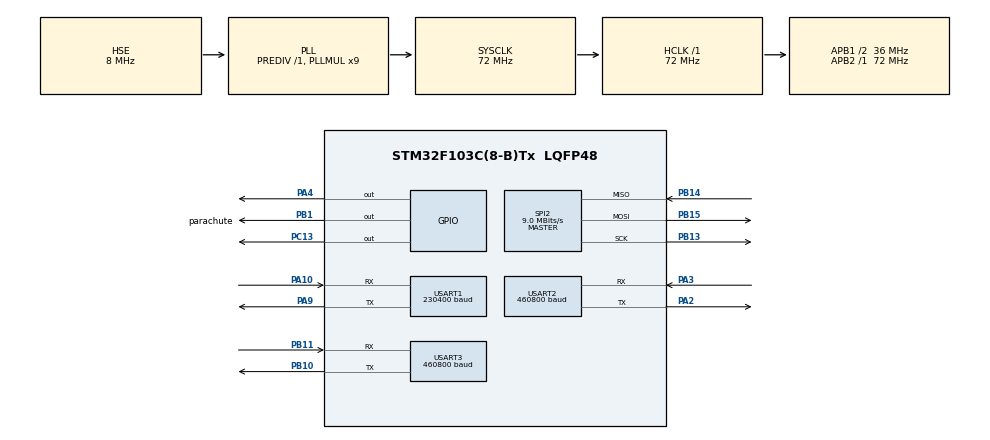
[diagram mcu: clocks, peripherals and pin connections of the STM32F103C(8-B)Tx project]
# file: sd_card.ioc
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Dma.Request0=USART1_RX
Dma.Request1=USART1_TX
Dma.Request2=USART3_RX
Dma.Request3=USART3_TX
Dma.USART1_RX.0.Direction=DMA_PERIPH_TO_MEMORY
Dma.USART1_RX.0.Instance=DMA1_Channel5
Dma.USART1_RX.0.MemDataAlignment=DMA_MDATAALIGN_BYTE
Dma.USART1_RX.0.MemInc=DMA_MINC_ENABLE
Dma.USART1_RX.0.Mode=DMA_NORMAL
Dma.USART1_RX.0.PeriphDataAlignment=DMA_PDATAALIGN_BYTE
Dma.USART1_RX.0.PeriphInc=DMA_PINC_DISABLE
Dma.USART1_RX.0.Priority=DMA_PRIORITY_MEDIUM
Dma.USART1_TX.1.Direction=DMA_MEMORY_TO_PERIPH
Dma.USART1_TX.1.Instance=DMA1_Channel4
Dma.USART1_TX.1.MemDataAlignment=DMA_MDATAALIGN_BYTE
Dma.USART1_TX.1.MemInc=DMA_MINC_ENABLE
Dma.USART1_TX.1.Mode=DMA_NORMAL
Dma.USART1_TX.1.PeriphDataAlignment=DMA_PDATAALIGN_BYTE
Dma.USART1_TX.1.PeriphInc=DMA_PINC_DISABLE
Dma.USART1_TX.1.Priority=DMA_PRIORITY_MEDIUM
Dma.USART3_RX.2.Direction=DMA_PERIPH_TO_MEMORY
Dma.USART3_RX.2.Instance=DMA1_Channel3
Dma.USART3_RX.2.MemDataAlignment=DMA_MDATAALIGN_BYTE
Dma.USART3_RX.2.MemInc=DMA_MINC_ENABLE
Dma.USART3_RX.2.Mode=DMA_NORMAL
Dma.USART3_RX.2.PeriphDataAlignment=DMA_PDATAALIGN_BYTE
Dma.USART3_RX.2.PeriphInc=DMA_PINC_DISABLE
Dma.USART3_RX.2.Priority=DMA_PRIORITY_MEDIUM
Dma.USART3_TX.3.Direction=DMA_MEMORY_TO_PERIPH
Dma.USART3_TX.3.Instance=DMA1_Channel2
Dma.USART3_TX.3.MemDataAlignment=DMA_MDATAALIGN_BYTE
Dma.USART3_TX.3.MemInc=DMA_MINC_ENABLE
Dma.USART3_TX.3.Mode=DMA_NORMAL
Dma.USART3_TX.3.PeriphDataAlignment=DMA_PDATAALIGN_BYTE
Dma.USART3_TX.3.PeriphInc=DMA_PINC_DISABLE
Dma.USART3_TX.3.Priority=DMA_PRIORITY_MEDIUM
FATFS._MAX_SS=4096
FATFS._USE_LFN=1
Mcu.Family=STM32F1
Mcu.Name=STM32F103C(8-B)Tx
Mcu.Package=LQFP48
NVIC.DMA1_Channel2_IRQn=true\:0\:0\:false\:false\:true\:false\:true\:true
NVIC.DMA1_Channel3_IRQn=true\:0\:0\:false\:false\:true\:false\:true\:true
NVIC.DMA1_Channel4_IRQn=true\:0\:0\:false\:false\:true\:false\:true\:true
NVIC.DMA1_Channel5_IRQn=true\:0\:0\:false\:false\:true\:false\:true\:true
NVIC.PriorityGroup=NVIC_PRIORITYGROUP_4
NVIC.TIM2_IRQn=true\:0\:0\:false\:false\:true\:true\:true\:true
NVIC.USART1_IRQn=true\:0\:0\:false\:false\:true\:true\:true\:true
PA10.Mode=Asynchronous
PA10.Signal=USART1_RX
PA13.Mode=Serial_Wire
PA13.Signal=SYS_JTMS-SWDIO
PA14.Mode=Serial_Wire
PA14.Signal=SYS_JTCK-SWCLK
PA2.Mode=Asynchronous
PA2.Signal=USART2_TX
PA3.Mode=Asynchronous
PA3.Signal=USART2_RX
PA4.GPIO_Speed=GPIO_SPEED_FREQ_MEDIUM
PA4.Signal=GPIO_Output
PA9.Mode=Asynchronous
PA9.Signal=USART1_TX
PB1.GPIO_Label=parachute
PB1.GPIO_Speed=GPIO_SPEED_FREQ_MEDIUM
PB1.Signal=GPIO_Output
PB10.Mode=Asynchronous
PB10.Signal=USART3_TX
PB11.Mode=Asynchronous
PB11.Signal=USART3_RX
PB13.Mode=Full_Duplex_Master
PB13.Signal=SPI2_SCK
PB14.Mode=Full_Duplex_Master
PB14.Signal=SPI2_MISO
PB15.Mode=Full_Duplex_Master
PB15.Signal=SPI2_MOSI
PC13-TAMPER-RTC.GPIO_Speed=GPIO_SPEED_FREQ_MEDIUM
PC13-TAMPER-RTC.Signal=GPIO_Output
PD0-OSC_IN.Mode=HSE-External-Oscillator
PD0-OSC_IN.Signal=RCC_OSC_IN
PD1-OSC_OUT.Mode=HSE-External-Oscillator
PD1-OSC_OUT.Signal=RCC_OSC_OUT
ProjectManager.HeapSize=0x200
ProjectManager.StackSize=0x400
ProjectManager.TargetToolchain=STM32CubeIDE
RCC.AHBFreq_Value=72000000
RCC.APB1CLKDivider=RCC_HCLK_DIV2
RCC.APB1Freq_Value=36000000
RCC.APB1TimFreq_Value=72000000
RCC.APB2Freq_Value=72000000
RCC.APB2TimFreq_Value=72000000
RCC.HCLKFreq_Value=72000000
RCC.PLLMUL=RCC_PLL_MUL9
RCC.PLLSourceVirtual=RCC_PLLSOURCE_HSE
RCC.SYSCLKFreq_VALUE=72000000
RCC.SYSCLKSource=RCC_SYSCLKSOURCE_PLLCLK
RCC.USBFreq_Value=72000000
SPI2.BaudRatePrescaler=SPI_BAUDRATEPRESCALER_4
SPI2.CalculateBaudRate=9.0 MBits/s
SPI2.Direction=SPI_DIRECTION_2LINES
SPI2.Mode=SPI_MODE_MASTER
SPI2.VirtualType=VM_MASTER
TIM2.Period=10
TIM2.Prescaler=39999
USART1.BaudRate=230400
USART1.VirtualMode=VM_ASYNC
USART2.BaudRate=460800
USART2.VirtualMode=VM_ASYNC
USART3.BaudRate=460800
USART3.VirtualMode=VM_ASYNC
VP_FATFS_VS_Generic.Mode=User_defined
VP_RTC_VS_RTC_Activate.Mode=RTC_Enabled
VP_RTC_VS_RTC_Calendar.Mode=RTC_Calendar
VP_TIM2_VS_ClockSourceINT.Mode=Internal
board=custom

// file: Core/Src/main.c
/* USER CODE BEGIN Header */
/**
 ******************************************************************************
 * @file           : main.c
 * @brief          : Main program body
 ******************************************************************************
 * @attention
 *
 * Copyright (c) 2023 STMicroelectronics.
 * All rights reserved.
 *
 * This software is licensed under terms that can be found in the LICENSE file
 * in the root directory of this software component.
 * If no LICENSE file comes with this software, it is provided AS-IS.
 *
 ******************************************************************************
 */
/* USER CODE END Header */
#include "main.h"
#include "fatfs.h"
#include "sd.h"
/* USER CODE BEGIN Includes */
#include "time.h"
#include <stdbool.h>
#include "packet_buffer.h"
#include <unistd.h>

/* USER CODE END Includes */

/* USER CODE BEGIN PD */
#define UART_SPEED 460800
#define BUFSIZE 420
/* USER CODE END PD */

RTC_HandleTypeDef hrtc;

SPI_HandleTypeDef hspi2;

TIM_HandleTypeDef htim2;

UART_HandleTypeDef huart1;
UART_HandleTypeDef huart2;
UART_HandleTypeDef huart3;
DMA_HandleTypeDef hdma_usart1_rx;
DMA_HandleTypeDef hdma_usart1_tx;
DMA_HandleTypeDef hdma_usart3_rx;

void SystemClock_Config(void);
static void MX_GPIO_Init(void);
static void MX_DMA_Init(void);
static void MX_SPI2_Init(void);
static void MX_TIM2_Init(void);
static void MX_USART1_UART_Init(void);
static void MX_RTC_Init(void);
static void MX_USART3_UART_Init(void);
static void MX_USART2_UART_Init(void);
/* USER CODE BEGIN PFP */
static void ProcessReceivedMessage(void);
RTC_TimeTypeDef sTime = {0};
RTC_DateTypeDef DateToUpdate = {0};
char trans_str[64] = {0,};
/* USER CODE END PFP */

/* USER CODE BEGIN 0 */

uint8_t rx_buff[BUFSIZE] = {0,};
uint16_t rx_buff_len;
volatile uint16_t Timer1=0;
uint8_t sect[512];
extern char str1[60];
uint32_t byteswritten,bytesread;
uint8_t result;
uint8_t newdir;
extern char USERPath[4]; /* logical drive path */

FATFS SDFatFs;
FATFS *fs;
FIL MyFile;

//uint8_t buffer[size];

FRESULT res;
FILINFO fileInfo;
char *fn;
DIR dir;
DWORD fre_clust, fre_sect, tot_sect;

uint8_t fullMessageBuffer[800] = {0,};//массив для всех сообщений с запасом.
uint8_t *pfullMessageBuffer = fullMessageBuffer;
volatile uint8_t messageReady = 0;
volatile uint16_t fullMessageLength = 0; // длина сообщения из заголовка
volatile int headerSwitcher = 1; // переключатель чтения заголовка/тела пакета
int lighterSwitcher = 1; // переключатель светодиода
uint16_t addressMessage = 0; // проверка адреса
uint8_t helloCommand[8]={0x01,0x02,0x03,0x04,0x05,0x06,0x07,0x08};//массив с положительным статусом
uint8_t testCommand[8]={0x01,0x02,0x03,0x04,0x05,0x06,0x07,0x01};//массив с положительным статусом
int rewriteCounterCLoseFile = 0;

uint8_t rewriteMessagesBuffer[3400] = {0,};//massive for rewrite many messages
uint16_t rewriteMessagesCounter = 0;

//считыванием содержимого нашего файла
FRESULT ReadLongFile(void)
{
    uint16_t i=0, i1=0;
    uint32_t ind=0;
    uint32_t f_size = MyFile.fsize;
    sprintf(str1,"fsize: %lu\r\n",(unsigned long)f_size);
    HAL_UART_Transmit(&huart2,(uint8_t*)str1,strlen(str1),0x1000);
    ind=0;
    do
    {
        if(f_size<512)
        {
            i1=f_size;
        }
        else
        {
            i1=512;
        }
        f_size-=i1;
        f_lseek(&MyFile,ind);
        f_read(&MyFile,sect,i1,(UINT *)&bytesread);
        for(i=0;i<bytesread;i++)
        {
            HAL_UART_Transmit(&huart2,sect+i,1,0x1000);
        }
        ind+=i1;
    }

    while(f_size>0);
    HAL_UART_Transmit(&huart1,(uint8_t*)"\r\n",2,0x1000);
    return FR_OK;

}

//THREAD AI

//THREAD END

void rewrite(const void* buff,int size)
{

    if(f_mount(&SDFatFs,(TCHAR const*)USERPath,0)!=FR_OK)
    {
        Error_Handler();
    }
    else
    {
        if(f_open(&MyFile,"mywrite.txt",FA_OPEN_ALWAYS|FA_WRITE)!=FR_OK)//FA_OPEN_ALWAYS//FA_CREATE_ALWAYS
        {
            Error_Handler();
        }
        else
        {
            res = f_lseek(&MyFile, f_size(&MyFile));
            if (res != FR_OK) Error_Handler();

            res = f_write(&MyFile,buff,size,(void*)&byteswritten);

            if((byteswritten!=(uint32_t)size)||(res!=FR_OK))
            {
                Error_Handler();
            }

            if(lighterSwitcher==1)
            {
                HAL_GPIO_WritePin(parachute_GPIO_Port, parachute_Pin, GPIO_PIN_SET);
                lighterSwitcher=0;
            }
            else if(lighterSwitcher==0)
            {
                HAL_GPIO_WritePin(parachute_GPIO_Port, parachute_Pin, GPIO_PIN_RESET);
                lighterSwitcher=1;
            }

            if (f_close(&MyFile) != FR_OK) Error_Handler();
            rewriteMessagesCounter = 0;

        }
    }
}

void CreateNewFile(const TCHAR* filename, const void* mass, UINT length)
{
    if(f_mount(&SDFatFs,(TCHAR const*)USERPath,0)!=FR_OK)
    {
        Error_Handler();
    }
    else
    {
        if(f_open(&MyFile,filename,FA_CREATE_ALWAYS|FA_WRITE)!=FR_OK)//FA_OPEN_ALWAYS
        {
            Error_Handler();
        }
        else
        {
            res=f_write(&MyFile,mass,length,(void*)&byteswritten);

            if((byteswritten!=length)||(res!=FR_OK))

            {
                Error_Handler();
            }
            f_close(&MyFile);
        }
    }
}

void ReadDir()
{

    if(f_mount(&SDFatFs,(TCHAR const*)USERPath,0)!=FR_OK)
    {
        Error_Handler();
    }
    else
    {
        fileInfo.lfname = (char*)sect;
        fileInfo.lfsize = sizeof(sect);
        result = f_opendir(&dir, "/");
        if (result == FR_OK)
        {
            while(1)
            {
                result = f_readdir(&dir, &fileInfo);

                if (result==FR_OK && fileInfo.fname[0])
                {
                    fn = fileInfo.lfname;
                    if(strlen(fn)) HAL_UART_Transmit(&huart2,(uint8_t*)fn,strlen(fn),0x1000);
                    else HAL_UART_Transmit(&huart2,(uint8_t*)fileInfo.fname,strlen((char*)fileInfo.fname),0x1000);
                    if(fileInfo.fattrib&AM_DIR)
                    {
                        HAL_UART_Transmit(&huart2,(uint8_t*)" [DIR]",7,0x1000);
                    }
                }
                else break;
                HAL_UART_Transmit(&huart2,(uint8_t*)"\r\n",2,0x1000);
            }
            //информация о карте start
            //	  f_getfree("/", &fre_clust, &fs);
            //	  sprintf(str1,"fre_clust: %lurn",fre_clust);
            //	  HAL_UART_Transmit(&huart1,(uint8_t*)str1,strlen(str1),0x1000);
            //	  sprintf(str1,"n_fatent: %lurn",fs->n_fatent);
            //	  HAL_UART_Transmit(&huart1,(uint8_t*)str1,strlen(str1),0x1000);
            //	  sprintf(str1,"fs_csize: %drn",fs->csize);
            //	  HAL_UART_Transmit(&huart1,(uint8_t*)str1,strlen(str1),0x1000);
            //	  tot_sect = (fs->n_fatent - 2) * fs->csize;
            //	  sprintf(str1,"tot_sect: %lurn",tot_sect);
            //	  HAL_UART_Transmit(&huart1,(uint8_t*)str1,strlen(str1),0x1000);
            //	  fre_sect = fre_clust * fs->csize;
            //	  sprintf(str1,"fre_sect: %lurn",fre_sect);
            //	  HAL_UART_Transmit(&huart1,(uint8_t*)str1,strlen(str1),0x1000);
            //	  sprintf(str1, "%lu KB total drive space.rn%lu KB available.rn",fre_sect/2, tot_sect/2);
            //	  HAL_UART_Transmit(&huart1,(uint8_t*)str1,strlen(str1),0x1000);
            //информация о карте finish
            f_closedir(&dir);
        }
    }
}

void send_file_over_uart2(const char* filename) {
    // Открываем файл
    if (f_mount(&SDFatFs, (TCHAR const*)USERPath, 0) != FR_OK) {
        // Обработка ошибки монтирования файловой системы
        char *error10 = "error mount";
        HAL_UART_Transmit(&huart2, (uint8_t *)error10, strlen(error10), 10);
        return;
    }
    FIL file;
    if (f_open(&file, filename, FA_READ) != FR_OK) {
        // Обработка ошибки открытия файла
        char *error1 = "file not open";
        HAL_UART_Transmit(&huart2, (uint8_t *)error1, strlen(error1), 10);
        return;
    }

    // Определяем размер файла
    UINT file_size = f_size(&file);

    // Отправляем размер файла по UART2
    char size_buffer[20];
    snprintf(size_buffer, sizeof(size_buffer), "%lu", (unsigned long)file_size);
    HAL_UART_Transmit(&huart2, (uint8_t*)size_buffer, strlen(size_buffer), 10);

    // Передаем содержимое файла по UART2
    uint8_t buffer[1024];
    UINT bytes_read, bytes_sent = 0;
    while (f_read(&file, buffer, 1024, &bytes_read) == FR_OK && bytes_read > 0) {
        if (HAL_UART_Transmit(&huart2, buffer, bytes_read, 30) != HAL_OK) {
            // Обработка ошибки передачи данных
            char *error2 = "HAL_UART_Transmit not transmit";
            HAL_UART_Transmit(&huart2, (uint8_t *)error2, strlen(error2), 10);
            break;
        }
        bytes_sent += bytes_read;
        //    snprintf(bytes_sent, sizeof(bytes_sent), "%lu", bytes_sent);
        //    printf("Sent %u bytes\r\n", bytes_sent); // Отладочный вывод
        char sent_buffer[32]; // Создаем буфер для хранения отформатированной строки
        snprintf(sent_buffer, sizeof(sent_buffer), "Sent %u bytes\r\n", bytes_sent); // Форматируем строку и сохраняем ее в буфер
        HAL_UART_Transmit(&huart2, (uint8_t*)sent_buffer, strlen(sent_buffer), 10);
    }
    f_close(&file);
    char *error5 = "all good! Data transmited";
    HAL_UART_Transmit(&huart2, (uint8_t *)error5, strlen(error5), 10);
}

void fileTransfer()
{
    char *error0 = "start file transmited";
    HAL_UART_Transmit(&huart2, (uint8_t *)error0, strlen(error0), 10);

    FILE *fp;
    long int size;

    fp = fopen("mywrite.txt", "rb"); // Открываем файл для чтения в двоичном режиме
    if (fp == NULL) {
        // Обработка ошибки открытия файла
        char *error1 = "mywrite.txt not open";
        HAL_UART_Transmit(&huart2, (uint8_t *)error1, strlen(error1), 10);
        return;
    }

    fseek(fp, 0L, SEEK_END); // Устанавливаем позицию в конец файла
    size = ftell(fp); // Получаем текущую позицию, что равно размеру файла
    fseek(fp, 0L, SEEK_SET); // Устанавливаем позицию в начало файла

    uint8_t buffer[1024];
    uint32_t bytes_sent = 0;
    uint32_t bytes_to_send = size;

    // Передаем размер файла
    if (HAL_UART_Transmit(&huart2, (uint8_t *)&size, sizeof(size), HAL_MAX_DELAY) != HAL_OK) {
        // Обработка ошибки передачи данных
        char *error2 = "HAL_UART_Transmit not transmit";
        HAL_UART_Transmit(&huart2, (uint8_t *)error2, strlen(error2), 10);
    }

    // Передаем содержимое файла по блокам размером BUFFER_SIZE байт
    while (bytes_sent < bytes_to_send) {
        uint32_t bytes_to_read = (bytes_to_send - bytes_sent) > 1024 ? 1024 : (bytes_to_send - bytes_sent);

        if (fread(buffer, 1, bytes_to_read, fp) != bytes_to_read) {
            // Обработка ошибки чтения файла
            char *error3 = "file not read";
            HAL_UART_Transmit(&huart2, (uint8_t *)error3, strlen(error3), 10);
        }

        if (HAL_UART_Transmit(&huart2, buffer, bytes_to_read, HAL_MAX_DELAY) != HAL_OK) {
            // Обработка ошибки передачи данных
            char *error4 = "data not transmit";
            HAL_UART_Transmit(&huart2, (uint8_t *)error4, strlen(error4), 10);
        }

        bytes_sent += bytes_to_read;
    }

    fclose(fp); // Закрываем файл
    char *error5 = "all good! Data transmited";
    HAL_UART_Transmit(&huart2, (uint8_t *)error5, strlen(error5), 10);

}

/* USER CODE END 0 */
uint8_t str[BUFSIZE+1];
uint8_t dataReceived=0;
uint8_t dataTransmitted=1;

void waitedRewrite(void)
{
    if (rewriteMessagesCounter > 0)
    {
        rewrite(rewriteMessagesBuffer, rewriteMessagesCounter);
    }
}

int main(void)
{
    /* USER CODE BEGIN 1 */
    //	uint16_t i;
    //	FRESULT res; //результат выполнения
    //	uint8_t wtext[]="Hello from STM32!!!";

    /* USER CODE END 1 */

    /* MCU Configuration--------------------------------------------------------*/

    /* Reset of all peripherals, Initializes the Flash interface and the Systick. */
    HAL_Init();

    /* Configure the system clock */
    SystemClock_Config();

    /* Initialize all configured peripherals */
    MX_GPIO_Init();
    MX_DMA_Init();
    MX_SPI2_Init();
    MX_TIM2_Init();
    MX_USART1_UART_Init();
    MX_FATFS_Init();
    MX_RTC_Init();
    MX_USART3_UART_Init();
    MX_USART2_UART_Init();
    /* USER CODE BEGIN 2 */
    HAL_TIM_Base_Start_IT(&htim2);

    HAL_NVIC_EnableIRQ(USART2_IRQn);
    //SD_PowerOn();
    //sd_ini()
    //  HAL_UART_Transmit(&huart3 , helloCommand, 8,10 );//отправляем приветствие
    //  HAL_UART_Transmit(&huart2 , helloCommand, 8,10 );//отправляем приветствие
    //  HAL_UART_Transmit(&huart1 , helloCommand, 8,10 );//отправляем приветствие

    disk_initialize(SDFatFs.drv);

    //  ReadDir();
    //  send_file_over_uart2("mywrite.txt");
    //  fileTransfer();
    //  CreateNewFile("123456.txt", 46);

    if(f_mount(&SDFatFs,(TCHAR const*)USERPath,0)!=FR_OK)
    {
        Error_Handler();
    }
    else
    {
        if(f_open(&MyFile,"mywrite.txt",FA_OPEN_ALWAYS|FA_WRITE)!=FR_OK)
        {
            Error_Handler();
        }
        else
        {
            //      ReadLongFile();//read file in start
            f_close(&MyFile);
        }
    }

    headerSwitcher = 1;
    lighterSwitcher = 1;

    HAL_UART_Receive_IT (&huart2, pfullMessageBuffer, 6);//приходят данные сюда записываются в массив стр на размер буфера

    /* USER CODE END 2 */

    /* Infinite loop */
    while (1)
    {

        /* USER CODE BEGIN 3 */
        if (messageReady) ProcessReceivedMessage();

    }
    /* USER CODE END 3 */
}

/* Process complete packets in the foreground: SD writes and blocking UART
 * transmission must not run inside the receive interrupt. Reception is rearmed
 * before the reply, so a paced sender can issue its next request afterward. */
static void ProcessReceivedMessage(void)
{
    const uint16_t packetLength = fullMessageLength + 8U;
    const uint8_t *reply = NULL;
    uint16_t replyLength = 0;

    addressMessage = (fullMessageBuffer[2] << 8) | fullMessageBuffer[1];
    if ((addressMessage & 0x20U) != 0U)
    {
        switch (fullMessageBuffer[3])
        {
            case 0x01:
                reply = helloCommand;
                replyLength = sizeof(helloCommand);
                break;
            case 0x02:
                reply = fullMessageBuffer;
                replyLength = packetLength;
                break;
            case 0x03:
                reply = testCommand;
                replyLength = sizeof(testCommand);
                break;
            default:
                break;
        }
        if (reply != NULL)
        {
            const uint16_t recordOffset = rewriteMessagesCounter;
            /* Echo packets are logged once; other commands include the reply. */
            if (!packet_log_append(rewriteMessagesBuffer,
                    sizeof(rewriteMessagesBuffer), &rewriteMessagesCounter,
                    fullMessageBuffer, packetLength,
                    reply == fullMessageBuffer ? NULL : reply,
                    reply == fullMessageBuffer ? 0 : replyLength))
            {
                Error_Handler();
            }
            waitedRewrite();
            /* The receive buffer may change as soon as RX is rearmed. */
            if (reply == fullMessageBuffer) reply = rewriteMessagesBuffer + recordOffset;
        }
    }
    fullMessageLength = 0;
    messageReady = 0;
    headerSwitcher = 1;
    if (HAL_UART_Receive_IT(&huart2, fullMessageBuffer, 6) != HAL_OK)
    {
        Error_Handler();
    }
    if (reply != NULL)
    {
        HAL_UART_Transmit(&huart2, (uint8_t *)reply, replyLength, 100);
    }
}

void HAL_UART_RxCpltCallback(UART_HandleTypeDef *huart)
{
    if (huart == &huart2)
    {
        if (headerSwitcher != 0)
        {
            fullMessageLength = (fullMessageBuffer[5] << 8) | fullMessageBuffer[4];
            if (!packet_body_fits(fullMessageLength, sizeof(fullMessageBuffer)))
            {
                /* Reject impossible lengths before asking HAL to write data. */
                fullMessageLength = 0;
                HAL_UART_Receive_IT(&huart2, fullMessageBuffer, 6);
                return;
            }
            headerSwitcher = 0;
            HAL_UART_Receive_IT(&huart2, fullMessageBuffer + 6,
                                fullMessageLength + 2);
        }
        else
        {
            messageReady = 1;
        }
    }
}

void SystemClock_Config(void)
{
    RCC_OscInitTypeDef RCC_OscInitStruct = {0};
    RCC_ClkInitTypeDef RCC_ClkInitStruct = {0};
    RCC_PeriphCLKInitTypeDef PeriphClkInit = {0};

    /** Initializes the RCC Oscillators according to the specified parameters
     * in the RCC_OscInitTypeDef structure.
     */
    RCC_OscInitStruct.OscillatorType = RCC_OSCILLATORTYPE_LSI|RCC_OSCILLATORTYPE_HSE;
    RCC_OscInitStruct.HSEState = RCC_HSE_ON;
    RCC_OscInitStruct.HSEPredivValue = RCC_HSE_PREDIV_DIV1;
    RCC_OscInitStruct.HSIState = RCC_HSI_ON;
    RCC_OscInitStruct.LSIState = RCC_LSI_ON;
    RCC_OscInitStruct.PLL.PLLState = RCC_PLL_ON;
    RCC_OscInitStruct.PLL.PLLSource = RCC_PLLSOURCE_HSE;
    RCC_OscInitStruct.PLL.PLLMUL = RCC_PLL_MUL9;
    if (HAL_RCC_OscConfig(&RCC_OscInitStruct) != HAL_OK)
    {
        Error_Handler();
    }

    /** Initializes the CPU, AHB and APB buses clocks
     */
    RCC_ClkInitStruct.ClockType = RCC_CLOCKTYPE_HCLK|RCC_CLOCKTYPE_SYSCLK
    |RCC_CLOCKTYPE_PCLK1|RCC_CLOCKTYPE_PCLK2;
    RCC_ClkInitStruct.SYSCLKSource = RCC_SYSCLKSOURCE_PLLCLK;
    RCC_ClkInitStruct.AHBCLKDivider = RCC_SYSCLK_DIV1;
    RCC_ClkInitStruct.APB1CLKDivider = RCC_HCLK_DIV2;
    RCC_ClkInitStruct.APB2CLKDivider = RCC_HCLK_DIV1;

    if (HAL_RCC_ClockConfig(&RCC_ClkInitStruct, FLASH_LATENCY_2) != HAL_OK)
    {
        Error_Handler();
    }
    PeriphClkInit.PeriphClockSelection = RCC_PERIPHCLK_RTC;
    PeriphClkInit.RTCClockSelection = RCC_RTCCLKSOURCE_LSI;
    if (HAL_RCCEx_PeriphCLKConfig(&PeriphClkInit) != HAL_OK)
    {
        Error_Handler();
    }
}

static void MX_RTC_Init(void)
{

    RTC_TimeTypeDef sTime = {0};
    RTC_DateTypeDef DateToUpdate = {0};

    /** Initialize RTC Only
     */
    hrtc.Instance = RTC;
    hrtc.Init.AsynchPrediv = RTC_AUTO_1_SECOND;
    hrtc.Init.OutPut = RTC_OUTPUTSOURCE_ALARM;
    if (HAL_RTC_Init(&hrtc) != HAL_OK)
    {
        Error_Handler();
    }

    /** Initialize RTC and set the Time and Date
     */
    sTime.Hours = 0x0;
    sTime.Minutes = 0x0;
    sTime.Seconds = 0x0;

    if (HAL_RTC_SetTime(&hrtc, &sTime, RTC_FORMAT_BCD) != HAL_OK)
    {
        Error_Handler();
    }
    DateToUpdate.WeekDay = RTC_WEEKDAY_MONDAY;
    DateToUpdate.Month = RTC_MONTH_JANUARY;
    DateToUpdate.Date = 0x1;
    DateToUpdate.Year = 0x0;

    if (HAL_RTC_SetDate(&hrtc, &DateToUpdate, RTC_FORMAT_BCD) != HAL_OK)
    {
        Error_Handler();
    }

}

static void MX_SPI2_Init(void)
{

    /* SPI2 parameter configuration*/
    hspi2.Instance = SPI2;
    hspi2.Init.Mode = SPI_MODE_MASTER;
    hspi2.Init.Direction = SPI_DIRECTION_2LINES;
    hspi2.Init.DataSize = SPI_DATASIZE_8BIT;
    hspi2.Init.CLKPolarity = SPI_POLARITY_LOW;
    hspi2.Init.CLKPhase = SPI_PHASE_1EDGE;
    hspi2.Init.NSS = SPI_NSS_SOFT;
    hspi2.Init.BaudRatePrescaler = SPI_BAUDRATEPRESCALER_4;
    hspi2.Init.FirstBit = SPI_FIRSTBIT_MSB;
    hspi2.Init.TIMode = SPI_TIMODE_DISABLE;
    hspi2.Init.CRCCalculation = SPI_CRCCALCULATION_DISABLE;
    hspi2.Init.CRCPolynomial = 10;
    if (HAL_SPI_Init(&hspi2) != HAL_OK)
    {
        Error_Handler();
    }

}

static void MX_TIM2_Init(void)
{

    TIM_ClockConfigTypeDef sClockSourceConfig = {0};
    TIM_MasterConfigTypeDef sMasterConfig = {0};

    htim2.Instance = TIM2;
    htim2.Init.Prescaler = 39999;
    htim2.Init.CounterMode = TIM_COUNTERMODE_UP;
    htim2.Init.Period = 10;
    htim2.Init.ClockDivision = TIM_CLOCKDIVISION_DIV1;
    htim2.Init.AutoReloadPreload = TIM_AUTORELOAD_PRELOAD_DISABLE;
    if (HAL_TIM_Base_Init(&htim2) != HAL_OK)
    {
        Error_Handler();
    }
    sClockSourceConfig.ClockSource = TIM_CLOCKSOURCE_INTERNAL;
    if (HAL_TIM_ConfigClockSource(&htim2, &sClockSourceConfig) != HAL_OK)
    {
        Error_Handler();
    }
    sMasterConfig.MasterOutputTrigger = TIM_TRGO_RESET;
    sMasterConfig.MasterSlaveMode = TIM_MASTERSLAVEMODE_DISABLE;
    if (HAL_TIMEx_MasterConfigSynchronization(&htim2, &sMasterConfig) != HAL_OK)
    {
        Error_Handler();
    }

}

static void MX_USART1_UART_Init(void)
{

    huart1.Instance = USART1;
    huart1.Init.BaudRate = 460800;
    huart1.Init.WordLength = UART_WORDLENGTH_8B;
    huart1.Init.StopBits = UART_STOPBITS_1;
    huart1.Init.Parity = UART_PARITY_NONE;
    huart1.Init.Mode = UART_MODE_TX_RX;
    huart1.Init.HwFlowCtl = UART_HWCONTROL_NONE;
    huart1.Init.OverSampling = UART_OVERSAMPLING_16;
    if (HAL_UART_Init(&huart1) != HAL_OK)
    {
        Error_Handler();
    }

}

static void MX_USART2_UART_Init(void)
{

    huart2.Instance = USART2;
    huart2.Init.BaudRate = 460800;
    huart2.Init.WordLength = UART_WORDLENGTH_8B;
    huart2.Init.StopBits = UART_STOPBITS_1;
    huart2.Init.Parity = UART_PARITY_NONE;
    huart2.Init.Mode = UART_MODE_TX_RX;
    huart2.Init.HwFlowCtl = UART_HWCONTROL_NONE;
    huart2.Init.OverSampling = UART_OVERSAMPLING_16;
    if (HAL_UART_Init(&huart2) != HAL_OK)
    {
        Error_Handler();
    }

}

static void MX_USART3_UART_Init(void)
{

    huart3.Instance = USART3;
    huart3.Init.BaudRate = 460800;
    huart3.Init.WordLength = UART_WORDLENGTH_8B;
    huart3.Init.StopBits = UART_STOPBITS_1;
    huart3.Init.Parity = UART_PARITY_NONE;
    huart3.Init.Mode = UART_MODE_TX_RX;
    huart3.Init.HwFlowCtl = UART_HWCONTROL_NONE;
    huart3.Init.OverSampling = UART_OVERSAMPLING_16;
    if (HAL_UART_Init(&huart3) != HAL_OK)
    {
        Error_Handler();
    }

}

static void MX_DMA_Init(void)
{

    /* DMA controller clock enable */
    __HAL_RCC_DMA1_CLK_ENABLE();

    /* DMA interrupt init */
    /* DMA1_Channel2_IRQn interrupt configuration */
    HAL_NVIC_SetPriority(DMA1_Channel2_IRQn, 0, 0);
    HAL_NVIC_EnableIRQ(DMA1_Channel2_IRQn);
    /* DMA1_Channel3_IRQn interrupt configuration */
    HAL_NVIC_SetPriority(DMA1_Channel3_IRQn, 0, 0);
    HAL_NVIC_EnableIRQ(DMA1_Channel3_IRQn);
    /* DMA1_Channel4_IRQn interrupt configuration */
    HAL_NVIC_SetPriority(DMA1_Channel4_IRQn, 0, 0);
    HAL_NVIC_EnableIRQ(DMA1_Channel4_IRQn);
    /* DMA1_Channel5_IRQn interrupt configuration */
    HAL_NVIC_SetPriority(DMA1_Channel5_IRQn, 0, 0);
    HAL_NVIC_EnableIRQ(DMA1_Channel5_IRQn);

}

static void MX_GPIO_Init(void)
{
    GPIO_InitTypeDef GPIO_InitStruct = {0};

    /* GPIO Ports Clock Enable */
    __HAL_RCC_GPIOC_CLK_ENABLE();
    __HAL_RCC_GPIOD_CLK_ENABLE();
    __HAL_RCC_GPIOA_CLK_ENABLE();
    __HAL_RCC_GPIOB_CLK_ENABLE();

    /*Configure GPIO pin Output Level */
    HAL_GPIO_WritePin(GPIOC, GPIO_PIN_13, GPIO_PIN_RESET);

    /*Configure GPIO pin Output Level */
    HAL_GPIO_WritePin(GPIOA, GPIO_PIN_4, GPIO_PIN_RESET);

    /*Configure GPIO pin Output Level */
    HAL_GPIO_WritePin(parachute_GPIO_Port, parachute_Pin, GPIO_PIN_RESET);

    /*Configure GPIO pin : PC13 */
    GPIO_InitStruct.Pin = GPIO_PIN_13;
    GPIO_InitStruct.Mode = GPIO_MODE_OUTPUT_PP;
    GPIO_InitStruct.Pull = GPIO_NOPULL;
    GPIO_InitStruct.Speed = GPIO_SPEED_FREQ_MEDIUM;
    HAL_GPIO_Init(GPIOC, &GPIO_InitStruct);

    /*Configure GPIO pin : PA4 */
    GPIO_InitStruct.Pin = GPIO_PIN_4;
    GPIO_InitStruct.Mode = GPIO_MODE_OUTPUT_PP;
    GPIO_InitStruct.Pull = GPIO_NOPULL;
    GPIO_InitStruct.Speed = GPIO_SPEED_FREQ_MEDIUM;
    HAL_GPIO_Init(GPIOA, &GPIO_InitStruct);

    /*Configure GPIO pin : parachute_Pin */
    GPIO_InitStruct.Pin = parachute_Pin;
    GPIO_InitStruct.Mode = GPIO_MODE_OUTPUT_PP;
    GPIO_InitStruct.Pull = GPIO_NOPULL;
    GPIO_InitStruct.Speed = GPIO_SPEED_FREQ_MEDIUM;
    HAL_GPIO_Init(parachute_GPIO_Port, &GPIO_InitStruct);

}

/* USER CODE BEGIN 4 */
//обработчик прерывания
void HAL_TIM_PeriodElapsedCallback(TIM_HandleTypeDef *htim)
{
    if(htim==&htim2)
    {
        Timer1++;
    }
}

void HAL_UART_IDLE_Callback(UART_HandleTypeDef *huart)
{
    if(huart == &huart1)
    {
        __HAL_UART_DISABLE_IT(&huart1, UART_IT_IDLE);
        rx_buff_len = BUFSIZE - __HAL_DMA_GET_COUNTER(huart->hdmarx);
        //HAL_UART_DMAStop(&huart1);

        uint8_t res = HAL_UART_Transmit_DMA(&huart1, (uint8_t*)rx_buff, rx_buff_len);
        if(res == HAL_ERROR) HAL_UART_Transmit(&huart1, (uint8_t*)"HAL_ERROR - rx_buff == NULL or rx_buff_len == 0\n", 48, 1000);
        else if(res == HAL_BUSY) HAL_UART_Transmit(&huart1, (uint8_t*)"HAL_BUSY\n", 9, 1000);
        HAL_UART_AbortReceive(&huart1);
        __HAL_UART_CLEAR_IDLEFLAG(&huart1);
        __HAL_UART_ENABLE_IT(&huart1, UART_IT_IDLE);
        HAL_UART_Receive_DMA(&huart1, (uint8_t*)rx_buff, BUFSIZE);
    }
}
//

void HAL_UART_ErrorCallback(UART_HandleTypeDef *huart)
{
    if (huart == &huart2)
    {
        HAL_UART_AbortReceive(&huart2);
        __HAL_UART_CLEAR_OREFLAG(&huart2);
        fullMessageLength = 0;
        headerSwitcher = 1;
        messageReady = 0;
        HAL_UART_Receive_IT(&huart2, fullMessageBuffer, 6);
        return;
    }
    if(huart == &huart1)
    {
        __HAL_UART_DISABLE_IT(&huart1, UART_IT_IDLE);
        HAL_UART_DMAStop(&huart1);
        //		HAL_GPIO_TogglePin(pc13_GPIO_Port, pc13_Pin);
        uint32_t er = HAL_UART_GetError(&huart1);

        switch(er)
        {
            case HAL_UART_ERROR_PE:
                HAL_UART_Transmit(&huart1, (uint8_t*)"ERR_Callbck - Parity error\n", 27, 1000);
                __HAL_UART_CLEAR_PEFLAG(&huart1);
                huart->ErrorCode = HAL_UART_ERROR_NONE;
                break;

            case HAL_UART_ERROR_NE:
                HAL_UART_Transmit(&huart1, (uint8_t*)"ERR_Callbck - Noise error\n", 26, 1000);
                __HAL_UART_CLEAR_NEFLAG(&huart1);
                huart->ErrorCode = HAL_UART_ERROR_NONE;
                break;

            case HAL_UART_ERROR_FE:
                HAL_UART_Transmit(&huart1, (uint8_t*)"ERR_Callbck - Frame error\n", 26, 1000);
                __HAL_UART_CLEAR_FEFLAG(&huart1);
                huart->ErrorCode = HAL_UART_ERROR_NONE;
                break;

            case HAL_UART_ERROR_ORE:
                HAL_UART_Transmit(&huart1, (uint8_t*)"ERR_Callbck - Overrun error\n", 28, 1000);
                __HAL_UART_CLEAR_OREFLAG(huart);
                huart->ErrorCode = HAL_UART_ERROR_NONE;
                break;

            case HAL_UART_ERROR_DMA:
                HAL_UART_Transmit(&huart1, (uint8_t*)"ERR_Callbck - DMA transfer error\n", 33, 1000);
                huart->ErrorCode = HAL_UART_ERROR_NONE;
                break;

            default:
                break;
        }
    }

}

/* USER CODE BEGIN 4 */

/* USER CODE END 4 */

void Error_Handler(void)
{
    __disable_irq();
    while (1)
    {
    }
}
